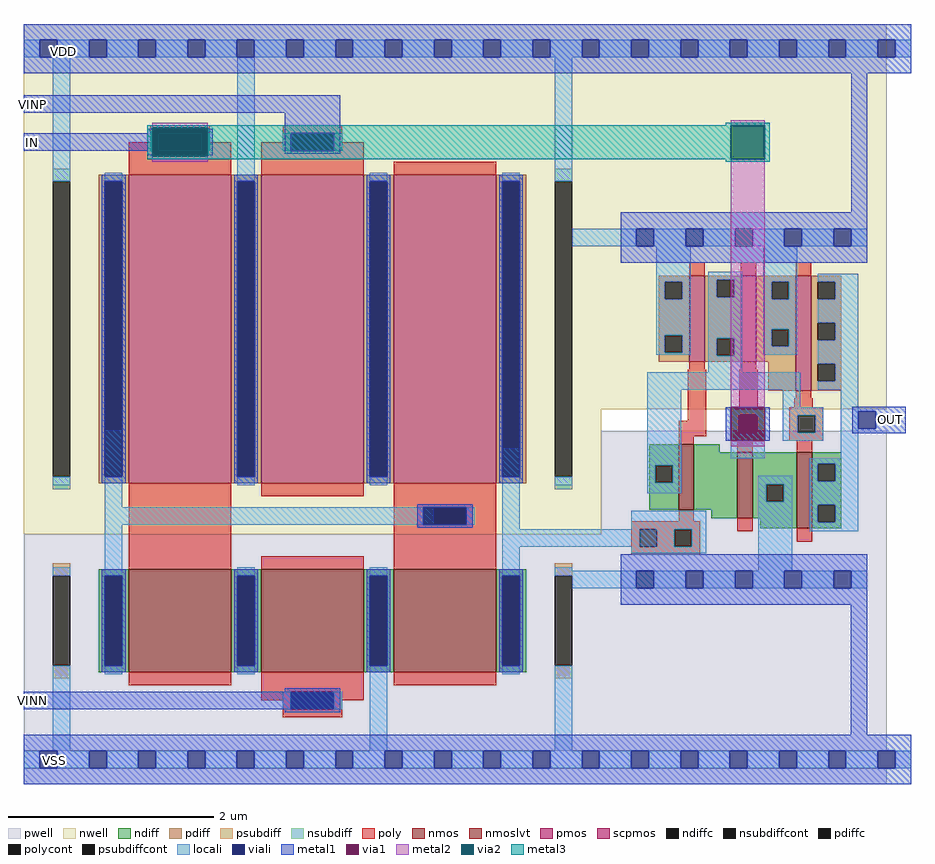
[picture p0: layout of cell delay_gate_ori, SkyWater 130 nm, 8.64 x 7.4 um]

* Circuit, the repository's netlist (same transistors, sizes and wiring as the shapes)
* NGSPICE file created from delay_gate_ori.ext - technology: sky130A

.subckt sky130_fd_pr__nfet_01v8_3KLK8B a_n158_n69# a_n100_n124# a_100_n69# VSUBS
X0 a_100_n69# a_n100_n124# a_n158_n69# VSUBS sky130_fd_pr__nfet_01v8 ad=0.29 pd=2.58 as=0.29 ps=2.58 w=1 l=1
.ends

.subckt sky130_fd_pr__pfet_01v8_GLM8QU a_n100_n328# a_100_n264# w_n194_n364# a_n158_n264#
X0 a_100_n264# a_n100_n328# a_n158_n264# w_n194_n364# sky130_fd_pr__pfet_01v8 ad=0.87 pd=6.58 as=0.87 ps=6.58 w=3 l=1
.ends

.subckt sky130_fd_pr__pfet_01v8_JKM84M a_n100_n362# w_n194_n398# a_100_n336# a_n158_n336#
X0 a_100_n336# a_n100_n362# a_n158_n336# w_n194_n398# sky130_fd_pr__pfet_01v8 ad=0.87 pd=6.58 as=0.87 ps=6.58 w=3 l=1
.ends

.subckt sky130_fd_pr__nfet_01v8_WVKZ6V a_100_n100# a_n100_n126# a_n158_n100# VSUBS
X0 a_100_n100# a_n100_n126# a_n158_n100# VSUBS sky130_fd_pr__nfet_01v8 ad=0.29 pd=2.58 as=0.29 ps=2.58 w=1 l=1
.ends

.subckt sky130_fd_sc_hs__and2_1 A B VGND VNB VPB VPWR X
X0 VGND B a_143_136# VNB sky130_fd_pr__nfet_01v8_lvt ad=0.15535 pd=1.17 as=0.1376 ps=1.14 w=0.64 l=0.15
X1 X a_56_136# VGND VNB sky130_fd_pr__nfet_01v8_lvt ad=0.2109 pd=2.05 as=0.15535 ps=1.17 w=0.74 l=0.15
X2 VPWR B a_56_136# VPB sky130_fd_pr__pfet_01v8 ad=0.1988 pd=1.505 as=0.147 ps=1.19 w=0.84 l=0.15
X3 a_143_136# A a_56_136# VNB sky130_fd_pr__nfet_01v8_lvt ad=0.1376 pd=1.14 as=0.1824 ps=1.85 w=0.64 l=0.15
X4 a_56_136# A VPWR VPB sky130_fd_pr__pfet_01v8 ad=0.147 pd=1.19 as=0.252 ps=2.28 w=0.84 l=0.15
X5 X a_56_136# VPWR VPB sky130_fd_pr__pfet_01v8 ad=0.3304 pd=2.83 as=0.1988 ps=1.505 w=1.12 l=0.15
.ends

.subckt delay_gate_ori VDD VSS VINP VINN OUT IN
Xsky130_fd_pr__nfet_01v8_3KLK8B_0 XM5/a_100_n100# VINN VSS VSS sky130_fd_pr__nfet_01v8_3KLK8B
Xsky130_fd_pr__pfet_01v8_GLM8QU_0 a_n155_n58# sky130_fd_sc_hs__and2_1_0/A VDD XM1/a_100_n336#
+ sky130_fd_pr__pfet_01v8_GLM8QU
Xsky130_fd_pr__pfet_01v8_JKM84M_0 IN VDD VDD a_n155_n58# sky130_fd_pr__pfet_01v8_JKM84M
Xsky130_fd_pr__nfet_01v8_WVKZ6V_0 sky130_fd_sc_hs__and2_1_0/A a_n155_n58# VSS VSS
+ sky130_fd_pr__nfet_01v8_WVKZ6V
XXM1 VINP VDD XM1/a_100_n336# VDD sky130_fd_pr__pfet_01v8_JKM84M
XXM5 XM5/a_100_n100# IN a_n155_n58# VSS sky130_fd_pr__nfet_01v8_WVKZ6V
Xsky130_fd_sc_hs__and2_1_0 sky130_fd_sc_hs__and2_1_0/A IN VSS VSS VDD VDD OUT sky130_fd_sc_hs__and2_1
.ends

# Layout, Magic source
magic
tech sky130A
magscale 1 2
<< nwell >>
rect -875 248 805 998
rect -875 4 249 248
<< pwell >>
rect 249 4 805 206
rect -875 -417 805 4
rect -875 -482 805 -451
<< psubdiff >>
rect -819 -76 -785 -52
rect -819 -276 -785 -252
rect 159 -76 193 -52
rect 159 -276 193 -252
<< nsubdiff >>
rect -819 692 -785 716
rect -819 92 -785 116
rect 159 692 193 716
rect 159 92 193 116
<< psubdiffcont >>
rect -819 -252 -785 -76
rect 159 -252 193 -76
<< nsubdiffcont >>
rect -819 116 -785 692
rect 159 116 193 692
<< poly >>
rect -671 -62 -471 98
rect -155 -58 45 102
<< locali >>
rect -875 933 -844 967
rect -810 933 -748 967
rect -714 933 -652 967
rect -618 933 -556 967
rect -522 933 -460 967
rect -426 933 -364 967
rect -330 933 -268 967
rect -234 933 -172 967
rect -138 933 -76 967
rect -42 933 20 967
rect 54 933 116 967
rect 150 933 212 967
rect 246 933 308 967
rect 342 933 404 967
rect 438 933 500 967
rect 534 933 596 967
rect 630 933 692 967
rect 726 933 788 967
rect 822 933 853 967
rect -819 692 -785 933
rect -459 704 -425 933
rect 159 692 193 933
rect -819 100 -785 116
rect -717 57 -683 207
rect -717 23 -77 57
rect -819 -76 -785 -60
rect -717 -64 -683 23
rect 57 14 91 172
rect 193 565 482 599
rect 159 100 193 116
rect 57 -20 367 14
rect 57 -68 91 -20
rect 159 -67 193 -60
rect -819 -417 -785 -252
rect 159 -76 386 -67
rect 193 -101 386 -76
rect -201 -417 -167 -266
rect 159 -417 193 -252
rect -875 -451 -844 -417
rect -810 -451 -748 -417
rect -714 -451 -652 -417
rect -618 -451 -556 -417
rect -522 -451 -460 -417
rect -426 -451 -364 -417
rect -330 -451 -268 -417
rect -234 -451 -172 -417
rect -138 -451 -76 -417
rect -42 -451 20 -417
rect 54 -451 116 -417
rect 150 -451 212 -417
rect 246 -451 308 -417
rect 342 -451 404 -417
rect 438 -451 500 -417
rect 534 -451 596 -417
rect 630 -451 692 -417
rect 726 -451 788 -417
rect 822 -451 853 -417
<< viali >>
rect -844 933 -810 967
rect -748 933 -714 967
rect -652 933 -618 967
rect -556 933 -522 967
rect -460 933 -426 967
rect -364 933 -330 967
rect -268 933 -234 967
rect -172 933 -138 967
rect -76 933 -42 967
rect 20 933 54 967
rect 116 933 150 967
rect 212 933 246 967
rect 308 933 342 967
rect 404 933 438 967
rect 500 933 534 967
rect 596 933 630 967
rect 692 933 726 967
rect 788 933 822 967
rect 518 202 552 236
rect 750 210 784 244
rect -844 -451 -810 -417
rect -748 -451 -714 -417
rect -652 -451 -618 -417
rect -556 -451 -522 -417
rect -460 -451 -426 -417
rect -364 -451 -330 -417
rect -268 -451 -234 -417
rect -172 -451 -138 -417
rect -76 -451 -42 -417
rect 20 -451 54 -417
rect 116 -451 150 -417
rect 212 -451 246 -417
rect 308 -451 342 -417
rect 404 -451 438 -417
rect 500 -451 534 -417
rect 596 -451 630 -417
rect 692 -451 726 -417
rect 788 -451 822 -417
<< metal1 >>
rect -875 967 853 998
rect -875 933 -844 967
rect -810 933 -748 967
rect -714 933 -652 967
rect -618 933 -556 967
rect -522 933 -460 967
rect -426 933 -364 967
rect -330 933 -268 967
rect -234 933 -172 967
rect -138 933 -76 967
rect -42 933 20 967
rect 54 933 116 967
rect 150 933 212 967
rect 246 933 308 967
rect 342 933 404 967
rect 438 933 500 967
rect 534 933 596 967
rect 630 933 692 967
rect 726 933 788 967
rect 822 933 853 967
rect -875 902 853 933
rect -875 825 -259 859
rect -635 785 -625 794
rect -875 751 -625 785
rect -635 742 -625 751
rect -517 742 -507 794
rect -367 791 -259 825
rect 736 569 767 902
rect 492 186 502 252
rect 568 186 578 252
rect 738 244 842 253
rect 738 210 750 244
rect 784 210 842 244
rect 738 201 842 210
rect -875 -336 -259 -302
rect 735 -386 767 -101
rect -875 -417 853 -386
rect -875 -451 -844 -417
rect -810 -451 -748 -417
rect -714 -451 -652 -417
rect -618 -451 -556 -417
rect -522 -451 -460 -417
rect -426 -451 -364 -417
rect -330 -451 -268 -417
rect -234 -451 -172 -417
rect -138 -451 -76 -417
rect -42 -451 20 -417
rect 54 -451 116 -417
rect 150 -451 212 -417
rect 246 -451 308 -417
rect 342 -451 404 -417
rect 438 -451 500 -417
rect 534 -451 596 -417
rect 630 -451 692 -417
rect 726 -451 788 -417
rect 822 -451 853 -417
rect -875 -482 853 -451
<< via1 >>
rect -625 742 -517 794
rect 502 236 568 252
rect 502 202 518 236
rect 518 202 552 236
rect 552 202 568 236
rect 502 186 568 202
<< metal2 >>
rect -625 796 -517 806
rect -625 730 -517 740
rect 502 801 568 811
rect 502 252 568 735
rect 502 176 568 186
<< via2 >>
rect -625 794 -517 796
rect -625 742 -517 794
rect -625 740 -517 742
rect 502 735 568 801
<< metal3 >>
rect 492 801 578 806
rect -635 796 502 801
rect -635 740 -625 796
rect -517 740 502 796
rect -635 735 502 740
rect 568 735 578 801
rect 492 730 578 735
use sky130_fd_pr__nfet_01v8_3KLK8B  sky130_fd_pr__nfet_01v8_3KLK8B_0
transform 1 0 -313 0 1 -195
box -158 -157 158 157
use sky130_fd_pr__nfet_01v8_WVKZ6V  sky130_fd_pr__nfet_01v8_WVKZ6V_0
transform 1 0 -55 0 1 -164
box -158 -126 158 126
use sky130_fd_pr__pfet_01v8_GLM8QU  sky130_fd_pr__pfet_01v8_GLM8QU_0
transform 1 0 -55 0 1 368
box -194 -364 194 398
use sky130_fd_pr__pfet_01v8_JKM84M  sky130_fd_pr__pfet_01v8_JKM84M_0
transform 1 0 -571 0 1 440
box -194 -398 194 364
use sky130_fd_sc_hs__and2_1  sky130_fd_sc_hs__and2_1_0 $PDKPATH/libs.ref/sky130_fd_sc_hs/mag
transform 1 0 287 0 1 -84
box -38 -49 518 715
use sky130_fd_pr__pfet_01v8_JKM84M  XM1
transform 1 0 -313 0 1 440
box -194 -398 194 364
use sky130_fd_pr__nfet_01v8_WVKZ6V  XM5
transform 1 0 -571 0 1 -164
box -158 -126 158 126
<< labels >>
flabel nwell -813 930 -783 960 0 FreeSans 400 0 0 0 VDD
port 0 nsew
flabel metal1 -831 -452 -801 -422 0 FreeSans 400 0 0 0 VSS
port 1 nsew
flabel metal1 -875 825 -841 859 0 FreeSans 400 0 0 0 VINP
port 2 nsew
flabel metal1 -875 -336 -841 -302 0 FreeSans 400 0 0 0 VINN
port 3 nsew
flabel metal1 784 201 842 253 0 FreeSans 400 0 0 0 OUT
port 5 nsew
flabel metal1 -875 751 -841 785 0 FreeSans 400 0 0 0 IN
port 7 nsew
<< end >>

# cell sky130_fd_pr__nfet_01v8_3KLK8B: kit device sky130_fd_pr__nfet_01v8, w 1.0 l 1.0 m 1 nf 1 diffcov 100 polycov 50 guard 0 glc 0 grc 0 gtc 0 gbc 0 tbcov 100 rlcov 100 topc 0 botc 1 poverlap 0 doverlap 1 lmin 0.15 wmin 0.42 compatible {sky130_fd_pr__nfet_01v8 sky130_fd_pr__nfet_01v8_lvt sky130_fd_bs_flash__special_sonosfet_star sky130_fd_pr__nfet_g5v0d10v5 sky130_fd_pr__nfet_05v0_nvt sky130_fd_pr__nfet_03v3_nvt} full_metal 0 viasrc 100 viadrn 100 viagate 50 viagb 0 viagr 0 viagl 0 viagt 0

# cell sky130_fd_pr__nfet_01v8_WVKZ6V: kit device sky130_fd_pr__nfet_01v8, w 1.0 l 1.0 m 1 nf 1 diffcov 100 polycov 100 guard 0 glc 0 grc 0 gtc 0 gbc 0 tbcov 100 rlcov 100 topc 0 botc 0 poverlap 0 doverlap 1 lmin 0.15 wmin 0.42 compatible {sky130_fd_pr__nfet_01v8 sky130_fd_pr__nfet_01v8_lvt sky130_fd_bs_flash__special_sonosfet_star sky130_fd_pr__nfet_g5v0d10v5 sky130_fd_pr__nfet_05v0_nvt sky130_fd_pr__nfet_03v3_nvt} full_metal 0 viasrc 100 viadrn 100 viagate 100 viagb 0 viagr 0 viagl 0 viagt 0

# cell sky130_fd_pr__pfet_01v8_GLM8QU: kit device sky130_fd_pr__pfet_01v8, w 3.0 l 1.0 m 1 nf 1 diffcov 100 polycov 50 guard 0 glc 0 grc 0 gtc 0 gbc 0 tbcov 100 rlcov 100 topc 0 botc 1 poverlap 0 doverlap 1 lmin 0.15 wmin 0.42 compatible {sky130_fd_pr__pfet_01v8 sky130_fd_pr__pfet_01v8_lvt sky130_fd_pr__pfet_01v8_hvt sky130_fd_pr__pfet_g5v0d10v5} full_metal 0 viasrc 100 viadrn 100 viagate 50 viagb 0 viagr 0 viagl 0 viagt 0

# cell sky130_fd_pr__pfet_01v8_JKM84M: kit device sky130_fd_pr__pfet_01v8, w 3.0 l 1.0 m 1 nf 1 diffcov 100 polycov 50 guard 0 glc 0 grc 0 gtc 0 gbc 0 tbcov 100 rlcov 100 topc 1 botc 0 poverlap 0 doverlap 1 lmin 0.15 wmin 0.42 compatible {sky130_fd_pr__pfet_01v8 sky130_fd_pr__pfet_01v8_lvt sky130_fd_pr__pfet_01v8_hvt sky130_fd_pr__pfet_g5v0d10v5} full_metal 0 viasrc 100 viadrn 100 viagate 50 viagb 0 viagr 0 viagl 0 viagt 0

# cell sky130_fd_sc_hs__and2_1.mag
magic
tech sky130A
magscale 1 2
<< nwell >>
rect -38 332 518 704
<< pwell >>
rect 30 274 219 290
rect 30 49 456 274
rect 0 0 480 49
<< scpmos >>
rect 134 424 164 592
rect 234 424 264 592
rect 341 368 371 592
<< nmoslvt >>
rect 113 136 143 264
rect 227 120 257 248
rect 343 100 373 248
<< ndiff >>
rect 56 223 113 264
rect 56 189 68 223
rect 102 189 113 223
rect 56 136 113 189
rect 143 248 193 264
rect 143 136 227 248
rect 177 120 227 136
rect 257 186 343 248
rect 257 152 284 186
rect 318 152 343 186
rect 257 120 343 152
rect 272 100 343 120
rect 373 226 430 248
rect 373 192 384 226
rect 418 192 430 226
rect 373 146 430 192
rect 373 112 384 146
rect 418 112 430 146
rect 373 100 430 112
<< pdiff >>
rect 74 580 134 592
rect 74 546 86 580
rect 120 546 134 580
rect 74 476 134 546
rect 74 442 86 476
rect 120 442 134 476
rect 74 424 134 442
rect 164 584 234 592
rect 164 550 187 584
rect 221 550 234 584
rect 164 470 234 550
rect 164 436 187 470
rect 221 436 234 470
rect 164 424 234 436
rect 264 580 341 592
rect 264 546 294 580
rect 328 546 341 580
rect 264 488 341 546
rect 264 454 294 488
rect 328 454 341 488
rect 264 424 341 454
rect 288 368 341 424
rect 371 580 430 592
rect 371 546 384 580
rect 418 546 430 580
rect 371 500 430 546
rect 371 466 384 500
rect 418 466 430 500
rect 371 420 430 466
rect 371 386 384 420
rect 418 386 430 420
rect 371 368 430 386
<< ndiffc >>
rect 68 189 102 223
rect 284 152 318 186
rect 384 192 418 226
rect 384 112 418 146
<< pdiffc >>
rect 86 546 120 580
rect 86 442 120 476
rect 187 550 221 584
rect 187 436 221 470
rect 294 546 328 580
rect 294 454 328 488
rect 384 546 418 580
rect 384 466 418 500
rect 384 386 418 420
<< poly >>
rect 134 592 164 618
rect 234 592 264 618
rect 341 592 371 618
rect 134 409 164 424
rect 234 409 264 424
rect 131 309 167 409
rect 231 336 267 409
rect 341 353 371 368
rect 338 336 374 353
rect 113 279 167 309
rect 215 320 281 336
rect 215 286 231 320
rect 265 286 281 320
rect 113 264 143 279
rect 215 270 281 286
rect 329 320 395 336
rect 329 286 345 320
rect 379 286 395 320
rect 329 270 395 286
rect 227 248 257 270
rect 343 248 373 270
rect 113 114 143 136
rect 21 98 155 114
rect 21 64 37 98
rect 71 64 105 98
rect 139 64 155 98
rect 227 94 257 120
rect 343 74 373 100
rect 21 48 155 64
<< polycont >>
rect 231 286 265 320
rect 345 286 379 320
rect 37 64 71 98
rect 105 64 139 98
<< locali >>
rect 0 649 31 683
rect 65 649 127 683
rect 161 649 223 683
rect 257 649 319 683
rect 353 649 415 683
rect 449 649 480 683
rect 70 580 137 649
rect 70 546 86 580
rect 120 546 137 580
rect 70 476 137 546
rect 70 442 86 476
rect 120 442 137 476
rect 70 438 137 442
rect 171 584 237 600
rect 171 550 187 584
rect 221 550 237 584
rect 171 470 237 550
rect 171 436 187 470
rect 221 436 237 470
rect 278 580 344 649
rect 278 546 294 580
rect 328 546 344 580
rect 278 488 344 546
rect 278 454 294 488
rect 328 454 344 488
rect 278 438 344 454
rect 384 580 463 596
rect 418 546 463 580
rect 384 500 463 546
rect 418 466 463 500
rect 171 404 237 436
rect 384 420 463 466
rect 52 370 350 404
rect 418 386 463 420
rect 384 370 463 386
rect 52 223 118 370
rect 316 336 350 370
rect 215 320 281 336
rect 215 286 231 320
rect 265 286 281 320
rect 215 236 281 286
rect 316 320 395 336
rect 316 286 345 320
rect 379 286 395 320
rect 316 270 395 286
rect 429 236 463 370
rect 52 189 68 223
rect 102 189 118 223
rect 368 226 463 236
rect 52 168 118 189
rect 268 186 334 202
rect 268 152 284 186
rect 318 152 334 186
rect 21 98 167 134
rect 21 64 37 98
rect 71 64 105 98
rect 139 64 167 98
rect 21 51 167 64
rect 268 17 334 152
rect 368 192 384 226
rect 418 192 463 226
rect 368 146 463 192
rect 368 112 384 146
rect 418 112 463 146
rect 368 94 463 112
rect 0 -17 31 17
rect 65 -17 127 17
rect 161 -17 223 17
rect 257 -17 319 17
rect 353 -17 415 17
rect 449 -17 480 17
<< viali >>
rect 31 649 65 683
rect 127 649 161 683
rect 223 649 257 683
rect 319 649 353 683
rect 415 649 449 683
rect 31 -17 65 17
rect 127 -17 161 17
rect 223 -17 257 17
rect 319 -17 353 17
rect 415 -17 449 17
<< metal1 >>
rect 0 683 480 715
rect 0 649 31 683
rect 65 649 127 683
rect 161 649 223 683
rect 257 649 319 683
rect 353 649 415 683
rect 449 649 480 683
rect 0 617 480 649
rect 0 17 480 49
rect 0 -17 31 17
rect 65 -17 127 17
rect 161 -17 223 17
rect 257 -17 319 17
rect 353 -17 415 17
rect 449 -17 480 17
rect 0 -49 480 -17
<< labels >>
rlabel comment s 0 0 0 0 4 and2_1
flabel pwell s 0 0 480 49 0 FreeSans 200 0 0 0 VNB
port 1 nsew
flabel nwell s 0 617 480 666 0 FreeSans 200 0 0 0 VPB
port 2 nsew
flabel metal1 s 0 617 480 666 0 FreeSans 340 0 0 0 VPWR
port 3 nsew
flabel metal1 s 0 0 480 49 0 FreeSans 340 0 0 0 VGND
port 4 nsew
flabel locali s 31 94 65 128 0 FreeSans 340 0 0 0 A
port 6 nsew
flabel locali s 127 94 161 128 0 FreeSans 340 0 0 0 A
port 6 nsew
flabel locali s 223 242 257 276 0 FreeSans 340 0 0 0 B
port 7 nsew
flabel locali s 415 390 449 424 0 FreeSans 340 0 0 0 X
port 8 nsew
flabel locali s 415 464 449 498 0 FreeSans 340 0 0 0 X
port 8 nsew
flabel locali s 415 538 449 572 0 FreeSans 340 0 0 0 X
port 8 nsew
<< properties >>
string FIXED_BBOX 0 0 480 666
<< end >>
